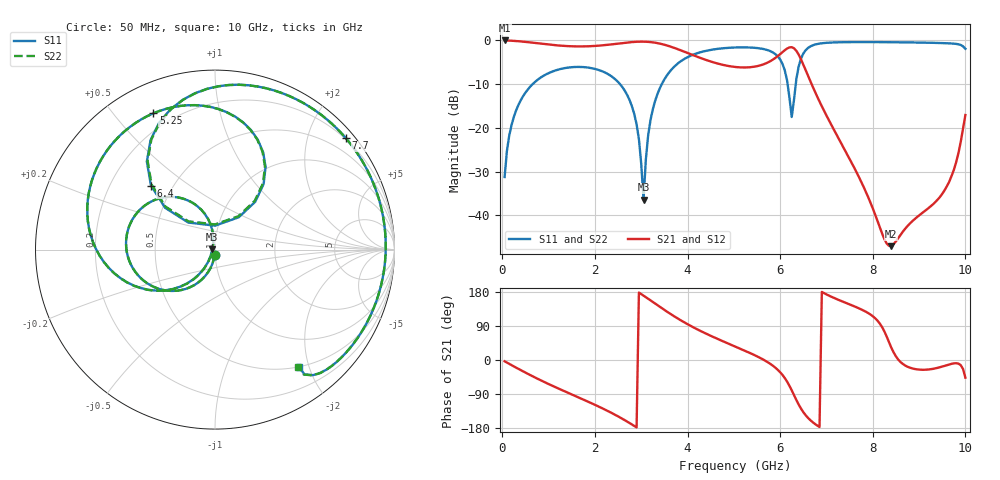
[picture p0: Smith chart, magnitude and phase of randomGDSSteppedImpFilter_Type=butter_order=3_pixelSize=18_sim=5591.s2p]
! freq	dB(S11)	phase(S11)	dB(S12)	phase(S12)
!  dB(S21)	phase(S21)	dB(S22)	phase(S22)
!S-par simulation data
#  GHz  S  DB  R 50
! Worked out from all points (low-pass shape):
!   200 points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, 50 MHz to 10 GHz, reference 50 ohm
!   highest |S21| = -0.01 dB at 50 MHz (marker M1); lowest = -47.0 dB at 8.4 GHz (marker M2)
!   |S21| within 3 dB of the highest: start of sweep to 4.034 GHz; 6.013 GHz to 6.386 GHz (372.9 MHz wide, 6.02 % of centre)
!   lowest |S11| = -36.4 dB at 3.05 GHz (marker M3), VSWR 1.03, Z = 48.5 + j0.152 ohm
!   |S11| at or under -10 dB: start of sweep to 654.3 MHz; 2.543 GHz to 3.443 GHz (900.7 MHz wide, 30.1 % of centre); 6.161 GHz to 6.337 GHz (176.4 MHz wide, 2.82 % of centre)
!   |S22| runs from -36.8 to -0.4 dB; largest |S21 - S12| = 0
!   S11 on the Smith chart (normalised r, x): 50 MHz: 1.00, -0.05; 5.25 GHz: 0.13, +0.64; 6.4 GHz: 0.38, +0.36; 7.7 GHz: 0.18, +2.71; 10 GHz: 0.50, -1.84
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0.05  -31.20 -93.5  -0.01 -3.4  -0.01 -3.4  -31.20 -93.5
0.2  -19.31 -104.0  -0.07 -13.6  -0.07 -13.6  -19.31 -104.0
0.5  -11.93 -123.8  -0.33 -33.3  -0.33 -33.3  -11.93 -123.8
1.75  -6.09 165.3  -1.37 -104.4  -1.37 -104.4  -6.09 165.3
2.75  -13.67 106.0  -0.43 -166.5  -0.43 -166.5  -13.67 105.8
2.95  -22.53 97.7  -0.29 178.0  -0.29 178.0  -22.55 97.1
3.05  -36.37 174.1  -0.28 169.9  -0.28 169.9  -36.83 174.3
3.15  -21.66 -119.2  -0.33 161.6  -0.33 161.6  -21.67 -118.6
3.4  -10.96 -133.2  -0.72 140.5  -0.72 140.5  -10.96 -133.0
4.2  -2.95 170.4  -3.69 81.5  -3.69 81.5  -2.95 170.5
5.05  -1.60 124.6  -6.09 34.5  -6.09 34.5  -1.60 124.7
5.25  -1.58 114.4  -6.18 23.9  -6.18 23.9  -1.58 114.5
5.75  -2.29 85.0  -4.95 -7.2  -4.95 -7.2  -2.29 85.2
6.05  -5.35 58.5  -2.68 -39.4  -2.68 -39.4  -5.34 59.0
6.25  -17.49 89.8  -1.55 -80.0  -1.55 -80.0  -17.06 90.1
6.4  -5.94 135.0  -3.24 -117.5  -3.24 -117.5  -5.91 134.2
6.7  -1.13 97.5  -10.49 -163.9  -10.49 -163.9  -1.13 97.2
7.7  -0.38 40.3  -31.19 136.4  -31.19 136.4  -0.38 40.2
8.35  -0.40 12.5  -46.92 47.3  -46.92 47.3  -0.40 12.4
8.4  -0.41 10.5  -47.01 32.6  -47.01 32.6  -0.41 10.3
9.6  -0.64 -38.3  -33.33 -13.6  -33.33 -13.6  -0.65 -38.5
10  -1.91 -54.4  -17.04 -46.7  -17.04 -46.7  -1.95 -54.6
